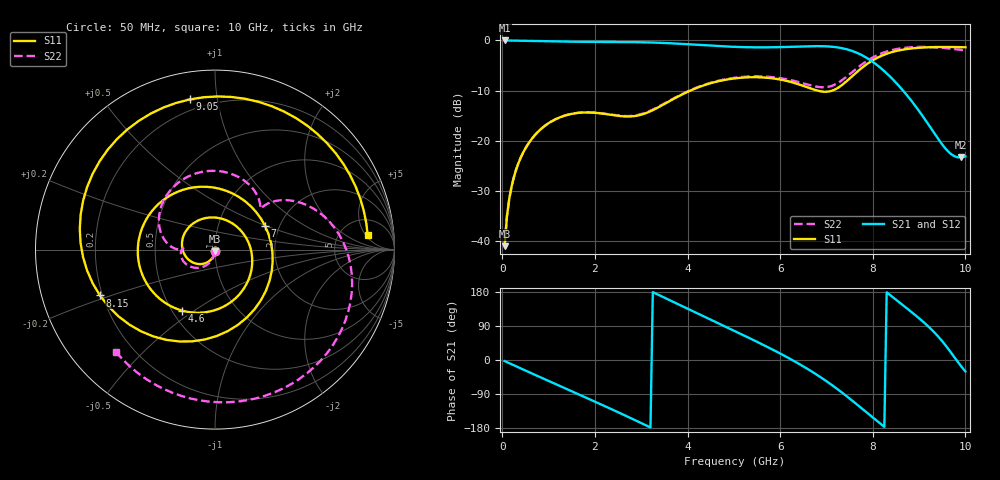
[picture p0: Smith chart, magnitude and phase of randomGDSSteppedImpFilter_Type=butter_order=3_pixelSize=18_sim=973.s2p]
! freq	dB(S11)	phase(S11)	dB(S12)	phase(S12)
!  dB(S21)	phase(S21)	dB(S22)	phase(S22)
!S-par simulation data
#  GHz  S  DB  R 50
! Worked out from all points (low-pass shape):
!   200 points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, 50 MHz to 10 GHz, reference 50 ohm
!   highest |S21| = -0.01 dB at 50 MHz (marker M1); lowest = -23.3 dB at 9.9 GHz (marker M2)
!   |S21| within 3 dB of the highest: start of sweep to 7.78 GHz
!   lowest |S11| = -40.9 dB at 50 MHz (marker M3), VSWR 1.02, Z = 50 - j0.896 ohm
!   |S11| at or under -10 dB: start of sweep to 4.056 GHz; 6.812 GHz to 7.119 GHz (307.1 MHz wide, 4.41 % of centre)
!   |S22| runs from -40.9 to -1.3 dB; largest |S21 - S12| = 0
!   S11 on the Smith chart (normalised r, x): 50 MHz: 1.00, -0.02; 4.6 GHz: 0.56, -0.45; 7 GHz: 1.69, +0.49; 8.15 GHz: 0.19, -0.19; 9.05 GHz: 0.14, +0.84; 10 GHz: 9, +6
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0.05  -40.94 -91.9  -0.01 -2.8  -0.01 -2.8  -40.94 -91.2
0.2  -29.11 -102.5  -0.02 -11.2  -0.02 -11.2  -29.09 -99.5
0.5  -21.48 -122.0  -0.07 -27.8  -0.07 -27.8  -21.47 -114.5
1.15  -15.69 -164.2  -0.20 -63.5  -0.20 -63.5  -15.68 -144.2
1.75  -14.34 153.4  -0.28 -96.2  -0.28 -96.2  -14.33 -167.1
2.7  -15.14 62.9  -0.32 -149.1  -0.32 -149.1  -15.06 177.7
3.4  -13.16 -19.3  -0.47 170.3  -0.47 170.3  -13.06 178.6
4.05  -10.03 -78.3  -0.78 132.4  -0.78 132.4  -9.94 162.0
4.6  -8.27 -118.3  -1.09 100.5  -1.09 100.5  -8.17 138.7
5.05  -7.51 -148.2  -1.29 74.5  -1.29 74.5  -7.39 117.0
6  -7.78 144.9  -1.33 17.1  -1.33 17.1  -7.50 69.8
6.7  -9.69 72.4  -1.14 -31.7  -1.14 -31.7  -9.03 44.5
7  -10.21 25.2  -1.18 -55.9  -1.18 -55.9  -9.29 42.0
7.35  -8.77 -38.8  -1.57 -87.3  -1.57 -87.3  -7.82 40.3
7.7  -5.95 -96.4  -2.64 -121.5  -2.64 -121.5  -5.23 28.3
8.15  -3.22 -158.3  -5.33 -166.6  -5.33 -166.6  -2.71 -0.0
8.35  -2.50 177.2  -6.99 173.7  -6.99 173.7  -2.07 -14.2
8.65  -1.83 142.6  -9.94 144.7  -9.94 144.7  -1.51 -35.6
9.05  -1.43 99.4  -14.70 104.9  -14.70 104.9  -1.29 -63.7
9.45  -1.31 58.4  -20.08 56.8  -20.08 56.8  -1.43 -91.9
9.9  -1.34 14.7  -23.28 -15.3  -23.28 -15.3  -1.88 -125.9
10  -1.36 5.4  -23.09 -30.2  -23.09 -30.2  -2.01 -134.1
